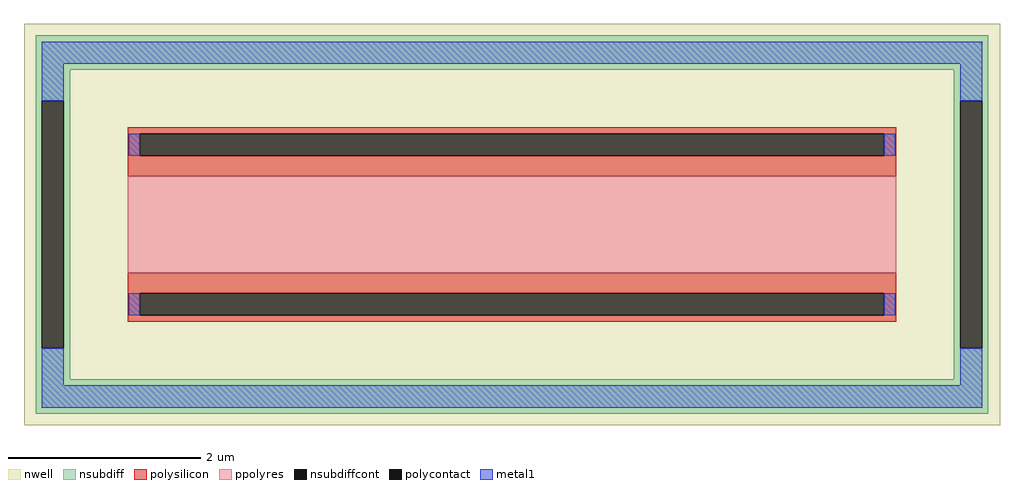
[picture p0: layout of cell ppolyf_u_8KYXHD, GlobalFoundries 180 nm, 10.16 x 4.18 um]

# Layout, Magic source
magic
tech gf180mcuD
magscale 1 10
<< nwell >>
rect -1016 -418 1016 418
<< nsubdiff >>
rect -992 322 992 394
rect -992 258 -920 322
rect -992 -258 -979 258
rect -933 -258 -920 258
rect 920 258 992 322
rect -992 -322 -920 -258
rect 920 -258 933 258
rect 979 -258 992 258
rect 920 -322 992 -258
rect -992 -394 992 -322
<< nsubdiffcont >>
rect -979 -258 -933 258
rect 933 -258 979 258
<< polysilicon >>
rect -800 189 800 202
rect -800 143 -775 189
rect 775 143 800 189
rect -800 100 800 143
rect -800 -143 800 -100
rect -800 -189 -775 -143
rect 775 -189 800 -143
rect -800 -202 800 -189
<< polycontact >>
rect -775 143 775 189
rect -775 -189 775 -143
<< ppolyres >>
rect -800 -100 800 100
<< metal1 >>
rect -979 335 979 381
rect -979 258 -933 335
rect 933 258 979 335
rect -798 143 -775 189
rect 775 143 798 189
rect -798 -189 -775 -143
rect 775 -189 798 -143
rect -979 -335 -933 -258
rect 933 -335 979 -258
rect -979 -381 979 -335
<< properties >>
string FIXED_BBOX -956 -358 956 358
<< end >>
